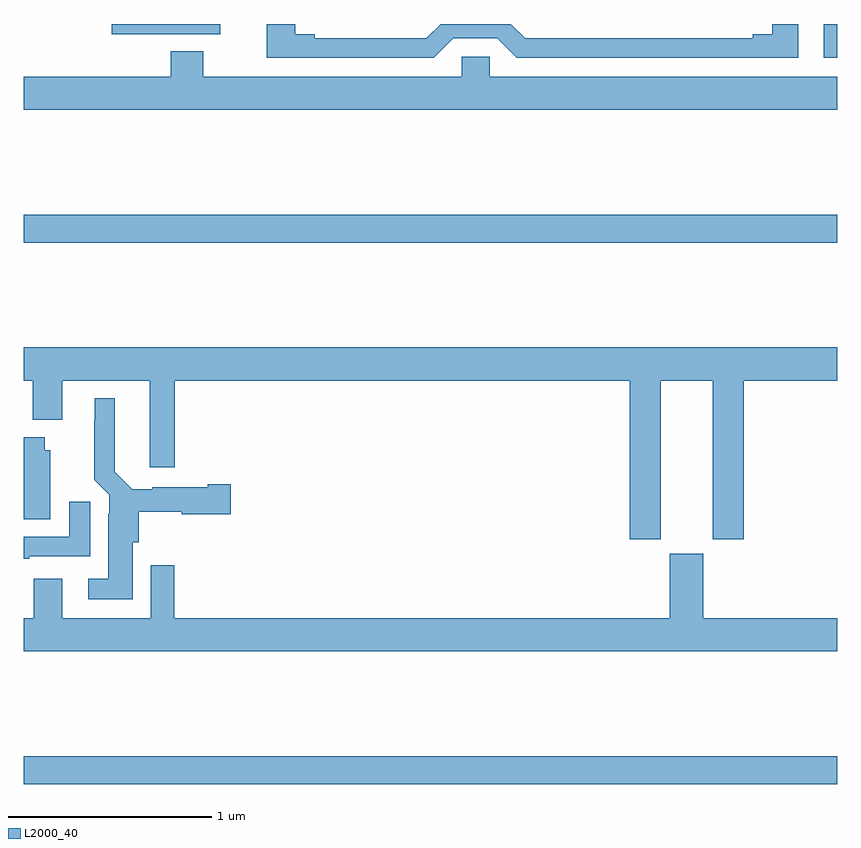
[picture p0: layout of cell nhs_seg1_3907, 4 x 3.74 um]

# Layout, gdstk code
import gdstk
lib = gdstk.Library(unit=1e-6, precision=1e-09)
def R(c, l, rs):  # rectangles x0, y0, x1, y1
    for r in rs: c.add(gdstk.rectangle(r[:2], r[2:], *l))
def P(c, l, *ps):  # polygons
    for p in ps: c.add(gdstk.Polygon(p, *l))
L2000_40 = (2000, 40)

nhs_seg1_3907 = lib.new_cell('nhs_seg1_3907')
R(nhs_seg1_3907, L2000_40, [(325,504.46,329,504.596), (325,507.124,329,507.26), (328.934,508.032,329,508.199), (325.431,508.149,325.965,508.199)])
P(nhs_seg1_3907, L2000_40, [(327.111,508.128),(327.329,508.128),(327.425,508.032),(328.81,508.032),(328.81,508.199),(328.682,508.199),(328.682,508.148),(328.586,508.148),(328.586,508.128),(327.465,508.128),(327.394,508.199),(327.05,508.199),(326.979,508.128),(326.431,508.128),(326.431,508.148),(326.335,508.148),(326.335,508.199),(326.195,508.199),(326.195,508.032),(327.015,508.032)],
  [(329,507.94),(327.291,507.94),(327.291,508.038),(327.153,508.038),(327.153,507.94),(325.881,507.94),(325.881,508.064),(325.721,508.064),(325.721,507.94),(325,507.94),(325,507.776),(329,507.776)],
  [(328.132,506.444),(328.388,506.444),(328.388,505.665),(328.541,505.665),(328.541,506.444),(329,506.444),(329,506.608),(325,506.608),(325,506.444),(325.042,506.444),(325.042,506.252),(325.189,506.252),(325.189,506.444),(325.619,506.444),(325.619,506.019),(325.742,506.019),(325.742,506.444),(327.98,506.444),(327.98,505.665),(328.132,505.665)],
  [(325.534,505.65),(325.565,505.65),(325.565,505.799),(325.776,505.799),(325.776,505.787),(326.017,505.787),(326.017,505.934),(325.904,505.934),(325.904,505.921),(325.632,505.921),(325.632,505.909),(325.533,505.909),(325.447,505.996),(325.447,506.359),(325.349,506.359),(325.349,506.249),(325.345,506.249),(325.345,505.958),(325.419,505.884),(325.419,505.79),(325.415,505.79),(325.415,505.471),(325.317,505.471),(325.317,505.37),(325.534,505.37)],
  [(325.129,506.103),(325.102,506.103),(325.102,506.167),(325,506.167),(325,505.762),(325.129,505.762)],
  [(325.027,505.581),(325.327,505.581),(325.327,505.849),(325.223,505.849),(325.223,505.677),(325,505.677),(325,505.569),(325.027,505.569)],
  [(329,505.276),(328.342,505.276),(328.342,505.593),(328.178,505.593),(328.178,505.276),(325.739,505.276),(325.739,505.537),(325.623,505.537),(325.623,505.276),(325.189,505.276),(325.189,505.471),(325.049,505.471),(325.049,505.276),(325,505.276),(325,505.112),(329,505.112)])

lib.write_gds('nhs_seg1_3907.gds')
